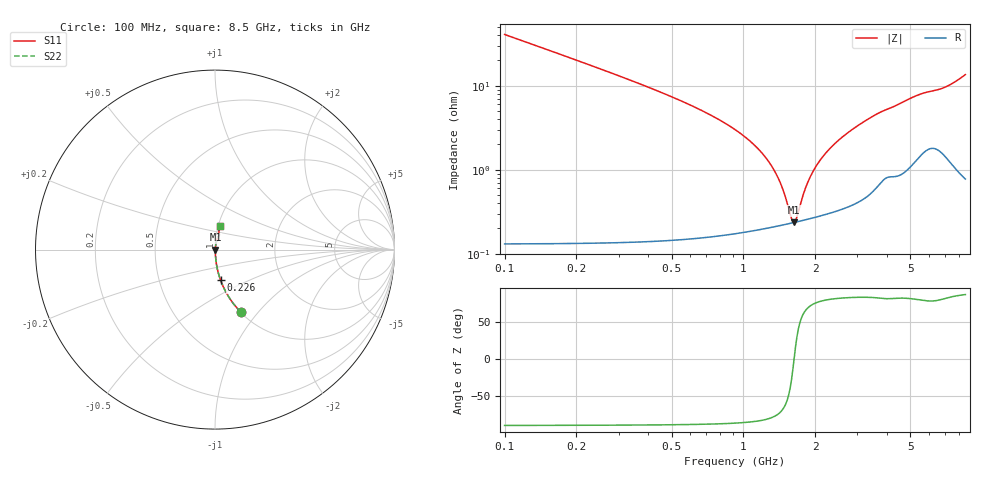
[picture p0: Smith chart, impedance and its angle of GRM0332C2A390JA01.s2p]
!Murata Part Number: GRM0332C2A390JA01
!These Parameters are Measured in Series Mode Connection
!Data Generated on Mar 30, 2021
!  o--ll--o
!Port1  Port2
!  o------o
!Operation Temp=25[degC], DC Bias Voltage=0[V]
!Freq. Start=100[MHz] Stop=9[GHz] 401[Steps]
# Hz S RI R 50
!Freq.(Hz) S11(Real) S11(Imag) S21(Real) S21(Imag) S12(Real) S12(Imag) S22(Real) S22(Imag)
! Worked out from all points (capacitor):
!   401 points, 100 MHz to 8.5 GHz, reference 50 ohm
!   read as one part in series: C = 39 pF near 142 MHz
!   lowest |Z| = 236 mohm at 1.633 GHz (marker M1)
!   series resonance near 1.63 GHz, so ESL is about 240 pH
!   S11 on the Smith chart (normalised r, x): 100 MHz: 1.00, -0.81; 226 MHz: 1.00, -0.35; 8.5 GHz: 1.02, +0.27
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1e8  0.1426 -0.3481  0.8574 0.3481  0.8574 0.3481  0.1426 -0.3481
2.26e8  0.0316 -0.1712  0.9684 0.1712  0.9684 0.1712  0.0316 -0.1712
3.31e8  0.0151 -0.1162  0.9849 0.1162  0.9849 0.1162  0.0151 -0.1162
4.78e8  0.00744 -0.0772  0.9926 0.0772  0.9926 0.0772  0.00744 -0.0772
1.024e9  0.00238 -0.0239  0.9976 0.0239  0.9976 0.0239  0.00238 -0.0239
1.213e9  0.00219 -0.0149  0.9978 0.0149  0.9978 0.0149  0.00219 -0.0149
1.381e9  0.00219 -0.00825  0.9978 0.00825  0.9978 0.00825  0.00219 -0.00825
1.507e9  0.00225 -0.00389  0.9978 0.00389  0.9978 0.00389  0.00225 -0.00389
1.591e9  0.00231 -0.00119  0.9977 0.00119  0.9977 0.00119  0.00231 -0.00119
1.633e9  0.00235 9.69e-05  0.9976 -9.69e-05  0.9976 -9.69e-05  0.00235 9.69e-05
1.675e9  0.00239 0.00136  0.9976 -0.00136  0.9976 -0.00136  0.00239 0.00136
1.78e9  0.00251 0.00438  0.9975 -0.00438  0.9975 -0.00438  0.00251 0.00438
1.864e9  0.00262 0.00668  0.9974 -0.00668  0.9974 -0.00668  0.00262 0.00668
1.969e9  0.00277 0.00943  0.9972 -0.00943  0.9972 -0.00943  0.00277 0.00943
2.074e9  0.00293 0.0121  0.9971 -0.0121  0.9971 -0.0121  0.00293 0.0121
2.41e9  0.00355 0.02  0.9965 -0.02  0.9965 -0.02  0.00355 0.02
2.914e9  0.00482 0.0308  0.9952 -0.0308  0.9952 -0.0308  0.00482 0.0308
3.586e9  0.00794 0.0443  0.9921 -0.0443  0.9921 -0.0443  0.00794 0.0443
4.3e9  0.0113 0.0554  0.9887 -0.0554  0.9887 -0.0554  0.0113 0.0554
5.707e9  0.022 0.0774  0.978 -0.0774  0.978 -0.0774  0.022 0.0774
7.114e9  0.0224 0.0938  0.9776 -0.0938  0.9776 -0.0938  0.0224 0.0938
8.5e9  0.0253 0.1309  0.9747 -0.1309  0.9747 -0.1309  0.0253 0.1309
